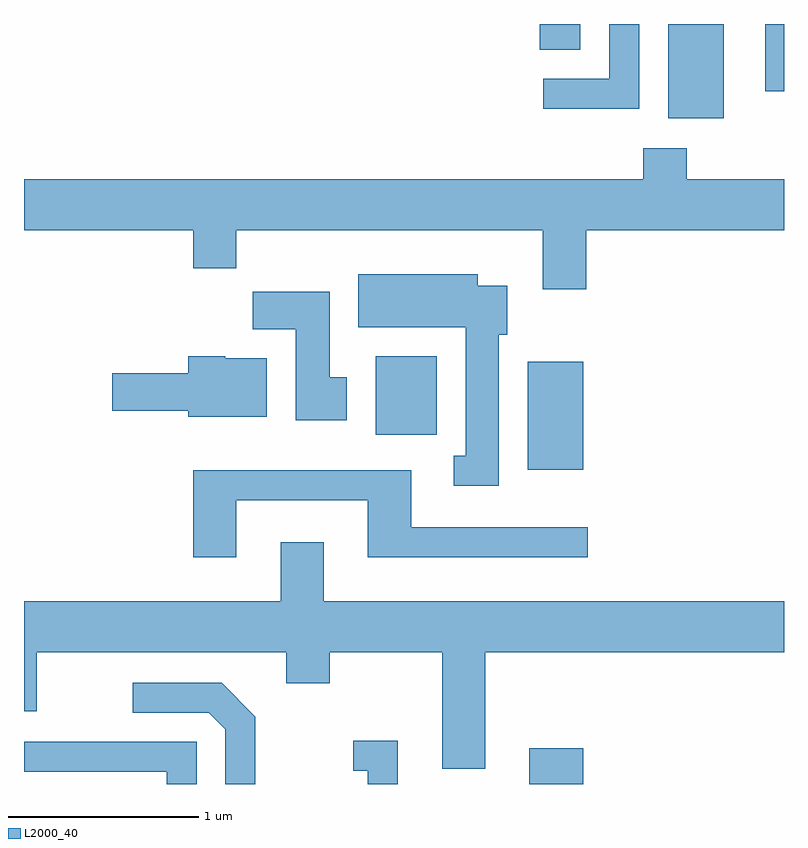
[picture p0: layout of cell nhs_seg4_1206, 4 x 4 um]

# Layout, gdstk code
import gdstk
lib = gdstk.Library(unit=1e-6, precision=1e-09)
def R(c, l, rs):  # rectangles x0, y0, x1, y1
    for r in rs: c.add(gdstk.rectangle(r[:2], r[2:], *l))
def P(c, l, *ps):  # polygons
    for p in ps: c.add(gdstk.Polygon(p, *l))
L2000_40 = (2000, 40)

nhs_seg4_1206 = lib.new_cell('nhs_seg4_1206')
R(nhs_seg4_1206, L2000_40, [(222.271,1353.982,222.554,1354.169), (222.261,1355.636,222.554,1356.204), (221.461,1355.821,221.784,1356.234), (223.001,1357.486,223.294,1357.982), (223.511,1357.628,223.611,1357.982), (222.326,1357.846,222.539,1357.982)])
P(nhs_seg4_1206, L2000_40, [(222.849,1357.982),(222.691,1357.982),(222.691,1357.694),(222.343,1357.694),(222.343,1357.536),(222.849,1357.536)],
  [(222.569,1356.896),(223.611,1356.896),(223.611,1357.164),(223.099,1357.164),(223.099,1357.329),(222.871,1357.329),(222.871,1357.164),(219.611,1357.164),(219.611,1356.896),(220.501,1356.896),(220.501,1356.696),(220.729,1356.696),(220.729,1356.896),(222.341,1356.896),(222.341,1356.586),(222.569,1356.586)],
  [(222.109,1356.346),(222.154,1356.346),(222.154,1356.604),(221.999,1356.604),(221.999,1356.664),(221.371,1356.664),(221.371,1356.386),(221.936,1356.386),(221.936,1355.709),(221.873,1355.709),(221.873,1355.551),(222.109,1355.551)],
  [(221.309,1356.124),(221.219,1356.124),(221.219,1356.574),(220.816,1356.574),(220.816,1356.376),(221.041,1356.376),(221.041,1355.896),(221.309,1355.896)],
  [(220.889,1356.224),(220.67,1356.224),(220.67,1356.234),(220.476,1356.234),(220.476,1356.144),(220.076,1356.144),(220.076,1355.946),(220.476,1355.946),(220.476,1355.916),(220.889,1355.916)],
  [(220.729,1355.476),(221.421,1355.476),(221.421,1355.176),(222.578,1355.176),(222.578,1355.334),(221.649,1355.334),(221.649,1355.634),(220.501,1355.634),(220.501,1355.176),(220.729,1355.176)],
  [(222.039,1354.676),(223.611,1354.676),(223.611,1354.944),(221.189,1354.944),(221.189,1355.254),(220.961,1355.254),(220.961,1354.944),(219.611,1354.944),(219.611,1354.366),(219.679,1354.366),(219.679,1354.676),(220.991,1354.676),(220.991,1354.511),(221.219,1354.511),(221.219,1354.676),(221.811,1354.676),(221.811,1354.061),(222.039,1354.061)],
  [(220.829,1354.337),(220.652,1354.514),(220.183,1354.514),(220.183,1354.356),(220.584,1354.356),(220.671,1354.269),(220.671,1353.982),(220.829,1353.982)],
  [(221.579,1354.209),(221.343,1354.209),(221.343,1354.051),(221.421,1354.051),(221.421,1353.982),(221.579,1353.982)],
  [(220.519,1354.204),(219.611,1354.204),(219.611,1354.046),(220.361,1354.046),(220.361,1353.982),(220.519,1353.982)])

lib.write_gds('nhs_seg4_1206.gds')
